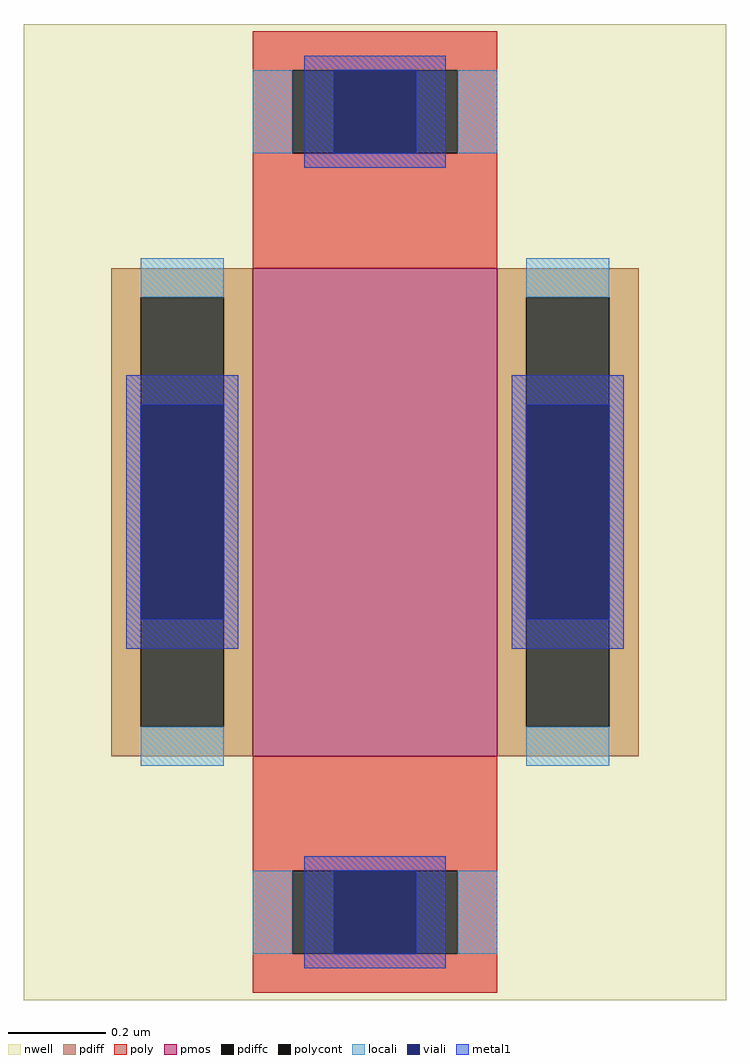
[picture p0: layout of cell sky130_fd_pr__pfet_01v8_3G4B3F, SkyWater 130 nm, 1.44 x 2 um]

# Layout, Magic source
magic
tech sky130A
magscale 1 2
<< nwell >>
rect -144 -200 144 200
<< pmos >>
rect -50 -100 50 100
<< pdiff >>
rect -108 88 -50 100
rect -108 -88 -96 88
rect -62 -88 -50 88
rect -108 -100 -50 -88
rect 50 88 108 100
rect 50 -88 62 88
rect 96 -88 108 88
rect 50 -100 108 -88
<< pdiffc >>
rect -96 -88 -62 88
rect 62 -88 96 88
<< poly >>
rect -50 181 50 197
rect -50 147 -34 181
rect 34 147 50 181
rect -50 100 50 147
rect -50 -147 50 -100
rect -50 -181 -34 -147
rect 34 -181 50 -147
rect -50 -197 50 -181
<< polycont >>
rect -34 147 34 181
rect -34 -181 34 -147
<< locali >>
rect -50 147 -34 181
rect 34 147 50 181
rect -96 88 -62 104
rect -96 -104 -62 -88
rect 62 88 96 104
rect 62 -104 96 -88
rect -50 -181 -34 -147
rect 34 -181 50 -147
<< viali >>
rect -17 147 17 181
rect -96 -44 -62 44
rect 62 -44 96 44
rect -17 -181 17 -147
<< metal1 >>
rect -29 181 29 187
rect -29 147 -17 181
rect 17 147 29 181
rect -29 141 29 147
rect -102 44 -56 56
rect -102 -44 -96 44
rect -62 -44 -56 44
rect -102 -56 -56 -44
rect 56 44 102 56
rect 56 -44 62 44
rect 96 -44 102 44
rect 56 -56 102 -44
rect -29 -147 29 -141
rect -29 -181 -17 -147
rect 17 -181 29 -147
rect -29 -187 29 -181
<< properties >>
string gencell sky130_fd_pr__pfet_01v8
string library sky130
string parameters w 1 l 0.5 m 1 nf 1 diffcov 100 polycov 100 guard 0 glc 1 grc 1 gtc 1 gbc 1 tbcov 100 rlcov 100 topc 1 botc 1 poverlap 0 doverlap 1 lmin 0.15 wmin 0.42 compatible {sky130_fd_pr__pfet_01v8  sky130_fd_pr__pfet_01v8_lvt sky130_fd_pr__pfet_01v8_hvt  sky130_fd_pr__pfet_g5v0d10v5} full_metal 1 viasrc 50 viadrn 50 viagate 50 viagb 0 viagr 0 viagl 0 viagt 0
<< end >>
